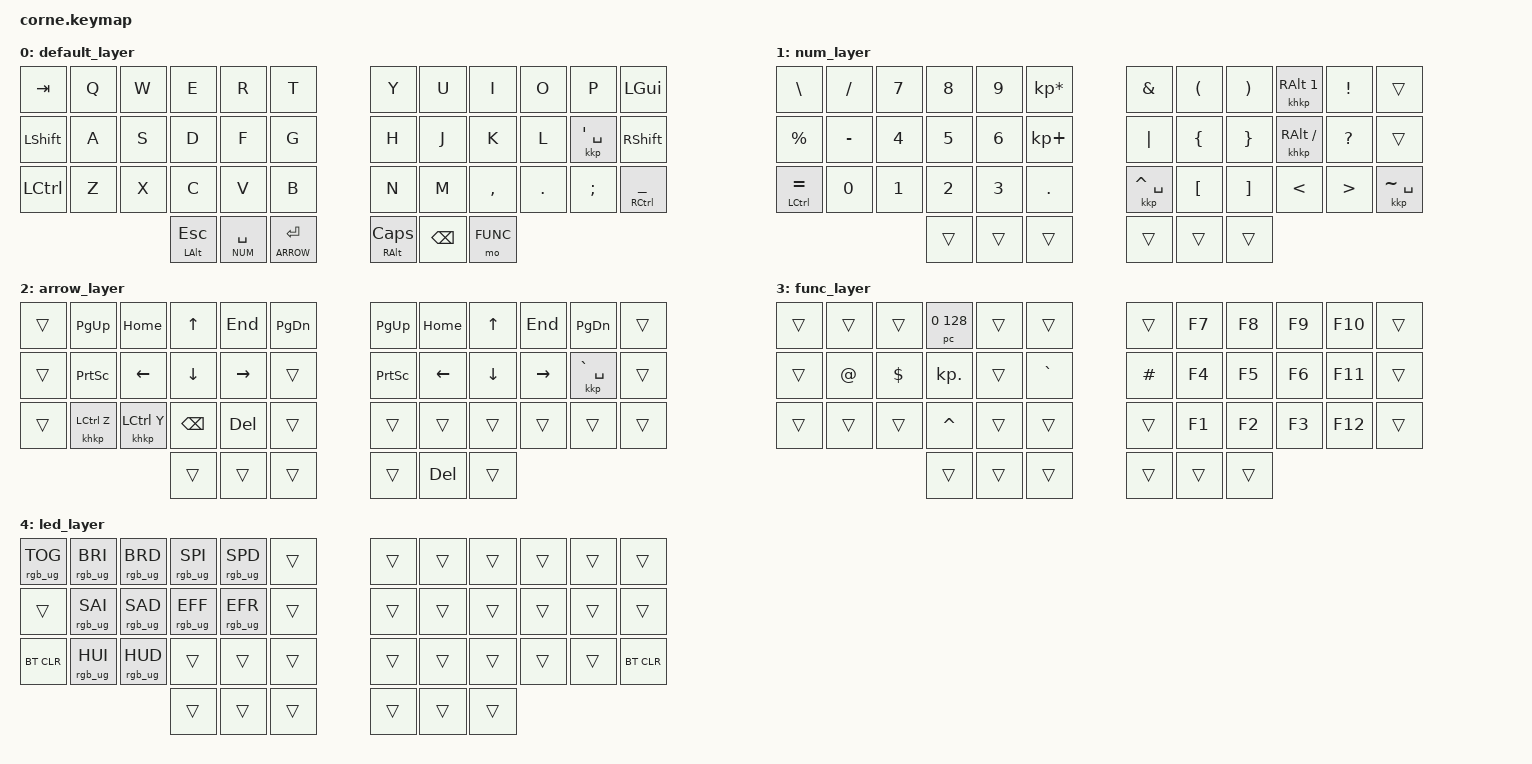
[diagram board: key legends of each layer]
/*
 * Copyright (c) 2020 The ZMK Contributors
 *
 * SPDX-License-Identifier: MIT
 */

#include <behaviors.dtsi>
#include <dt-bindings/zmk/keys.h>
#include <dt-bindings/zmk/bt.h>
#include <dt-bindings/zmk/rgb.h>

#define DEFAULT 0
#define NUM 1
#define ARROW 2
#define FUNC 3
#define LED 4

#define _ 10 // NOT USED: only for &pc behavior

&mt {
    flavor = "hold-preferred";
    tapping-term-ms = <150>;
    quick_tap_ms = <150>;
};

&lt {
    flavor = "hold-preferred";
    tapping-term-ms = <350>;
};

/ {
    combos {
        compatible = "zmk,combos";
        combo_led {
            timeout-ms = <50>;
            key-positions = <36 37 38>;
            bindings = <&mo LED>;
        };
    };
};

/ {
        behaviors {
            am: alpha_mods_tap {
                compatible = "zmk,behavior-hold-tap";
                label = "alpha mod-taps";
                #binding-cells = <2>;
                tapping-term-ms = <150>;
                quick-tap-ms = <150>;
                flavor = "hold-preferred";
                bindings = <&kp>, <&kp>;
                retro-tap;
            };
        };

        keymap {
                compatible = "zmk,keymap";

                default_layer {
// -----------------------------------------------------------------------------------------
// |  TAB |  Q  |  W  |  E  |  R  |  T  |   |  Y  |  U   |  I  |  O  |  P  | GUI  |
// | SHFT |  A  |  S  |  D  |  F  |  G  |   |  H  |  J   |  K  |  L  |  ;  | SHFT |
// | CTRL |  Z  |  X  |  C  |  V  |  B  |   |  N  |  M   |  ,  |  .  |  _  |  '   |
//                    | ALT | SPC | ENT |   | B/D | RSE  | AGR |
                        bindings = <
   &kp TAB   &kp Q     &kp W     &kp E     &kp R     &kp T              &kp Y     &kp U     &kp I     &kp O     &kp P          &kp LGUI
   &kp LSHFT &kp A     &kp S     &kp D     &kp F     &kp G              &kp H     &kp J     &kp K     &kp L     &kkp SQT SPACE &kp RSHFT
   &kp LCTRL &kp Z     &kp X     &kp C     &kp V     &kp B              &kp N     &kp M     &kp COMMA &kp DOT   &kp SEMI       &am RCTRL UNDER
   &mt LALT ESC        &lt NUM SPACE       &lt ARROW RET                &mt RALT CAPS       &kp BSPC            &mo FUNC
                        >;
                };

                num_layer {
// -----------------------------------------------------------------------------------------
// |      |     |  !  |  (  |  )  |  &  |   |  *  |  7  |  8  |  9  |  /  |  \   |
// |      |     |  ?  |  {  |  }  | "|" |   |  +  |  4  |  5  |  6  |  -  |  %   |
// |      |     |  ~  |  [  |  ]  |  ^  |   |  0  |  1  |  2  |  3  |  =  | NLCK |
//                    |     |     |     |   |     |     |     |
                        bindings = <
   &kp BSLH         &kp FSLH  &kp N7 &kp N8 &kp N9 &kp KP_MULTIPLY                &kp AMPS         &kp LPAR &kp RPAR  &khkp RALT N1    &kp EXCL   &trans
   &kp PRCNT        &kp MINUS &kp N4 &kp N5 &kp N6 &kp KP_PLUS                    &kp PIPE         &kp LBRC &kp RBRC  &khkp RALT FSLH  &kp QMARK  &trans
   &am LCTRL EQUAL  &kp N0    &kp N1 &kp N2 &kp N3 &kp DOT                        &kkp CARET SPACE &kp LBKT &kp RBKT  &kp LT           &kp GT     &kkp TILDE SPACE
   &trans           &trans              &trans                                    &trans           &trans             &trans
                        >;
                };

                arrow_layer {
// -----------------------------------------------------------------------------------------
// |      |     | ←←← |  ↑  | →→→ |     |   |     |     | ←←← |  ↑  | →→→ |      |
// |      |     |  ←  |  ↓  |  →  |     |   |     |     |  ←  |  ↓  |  →  |      |
// |      |     |     |     |     |     |   |     |     |     |     |     |      |
//                    |     |     |     |   |     |     |     |
                        bindings = <
   &trans    &kp PAGE_UP      &kp HOME         &kp UP    &kp END   &kp PAGE_DOWN      &kp PAGE_UP &kp HOME  &kp UP    &kp END   &kp PAGE_DOWN    &trans
   &trans    &kp PSCRN        &kp LEFT         &kp DOWN  &kp RIGHT &trans             &kp PSCRN   &kp LEFT  &kp DOWN  &kp RIGHT &kkp GRAVE SPACE &trans
   &trans    &khkp LCTRL Z    &khkp LCTRL Y    &kp BSPC  &kp DEL   &trans             &trans      &trans    &trans    &trans    &trans           &trans
   &trans                     &trans           &trans                                 &trans                &kp DEL             &trans
                        >;
                };

                func_layer {
// -----------------------------------------------------------------------------------------
// |      |  '  |     |     |     |     |   |     | F10 | F7  | F8  | F9  |      |
// |      |  @  |  $  |  .  |     |     |   |  #  | F11 | F4  | F5  | F6  |      |
// |      |     |     |  ^  |     |     |   |     | F12 | F1  | F2  | F3  |      |
//                    |     |     |     |   |     |     |     |
                        bindings = <
   &trans    &trans    &trans    &pc 0 128  &trans   &trans             &trans    &kp F7    &kp F8    &kp F9    &kp F10   &trans
   &trans    &kp AT    &kp DLLR  &kp KP_DOT &trans   &kp GRAVE          &kp HASH  &kp F4    &kp F5    &kp F6    &kp F11   &trans
   &trans    &trans    &trans    &kp CARET  &trans   &trans             &trans    &kp F1    &kp F2    &kp F3    &kp F12   &trans
   &trans              &trans               &trans                      &trans              &trans              &trans
                        >;
                };

                led_layer {
// -----------------------------------------------------------------------------------------
// | ON/OFF | BRI | BRD | SPI | SPD |     |   |     |     |     |     |     |      |
// |        | SAI | SAD | EFF | EFR |     |   |     |     |     |     |     |      |
// |        | HUI | HUD |     |     |     |   |     |     |     |     |     |      |
//                      |     |     |     |   |     |     |     |
                        bindings = <
   &rgb_ug RGB_TOG     &rgb_ug RGB_BRI     &rgb_ug RGB_BRD     &rgb_ug RGB_SPI     &rgb_ug RGB_SPD     &trans                 &trans    &trans    &trans    &trans    &trans    &trans
   &trans              &rgb_ug RGB_SAI     &rgb_ug RGB_SAD     &rgb_ug RGB_EFF     &rgb_ug RGB_EFR     &trans                 &trans    &trans    &trans    &trans    &trans    &trans
   &bt BT_CLR          &rgb_ug RGB_HUI     &rgb_ug RGB_HUD     &trans              &trans              &trans                 &trans    &trans    &trans    &trans    &trans    &bt BT_CLR
                                                               &trans              &trans              &trans                 &trans              &trans              &trans
                        >;
                };
        };
};
